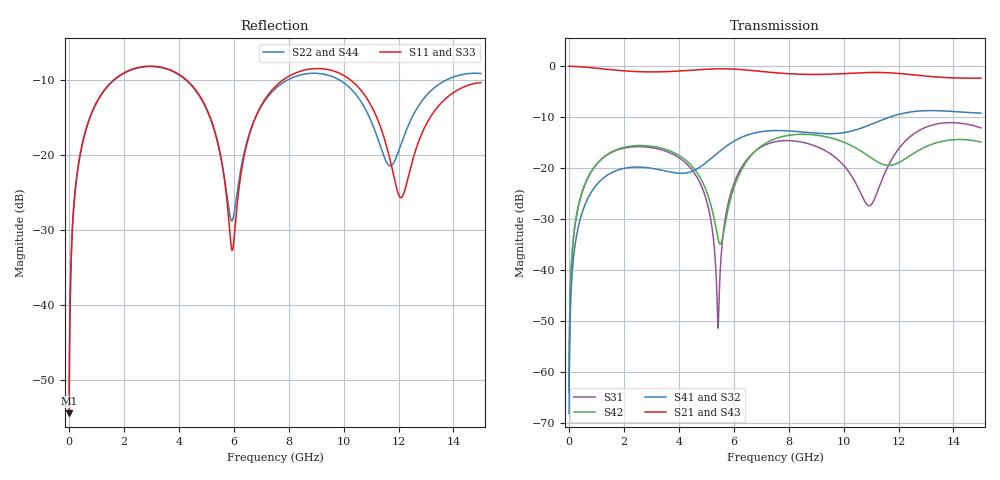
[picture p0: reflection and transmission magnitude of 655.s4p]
! Created with skrf 1.8.0 (http://scikit-rf.org).
# GHz S RI R 50.0
!freq ReS11 ImS11 ReS12 ImS12 ReS13 ImS13
! ReS14 ImS14
! ReS21 ImS21 ReS22 ImS22 ReS23 ImS23
! ReS24 ImS24
! ReS31 ImS31 ReS32 ImS32 ReS33 ImS33
! ReS34 ImS34
! ReS41 ImS41 ReS42 ImS42 ReS43 ImS43
! ReS44 ImS44
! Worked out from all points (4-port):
!   2499 points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, 5 MHz to 15 GHz, reference 50 ohm
!   strongest paths, dB at 5 MHz, 3.476 GHz, 7.19 GHz, 11.1 GHz, 15 GHz:
!     S21: 0.0, -1.1, -1.1, -1.2, -2.4
!     S43: 0.0, -1.1, -1.1, -1.3, -2.4
!     S41: -68.0, -20.5, -12.7, -11.2, -9.2
!     S32: -68.0, -20.5, -12.7, -11.2, -9.2
!     S42: -63.9, -16.2, -15.0, -18.3, -14.9
!     S31: -63.9, -16.6, -15.3, -26.4, -12.1
!   lowest |S11| = -54.5 dB at 5 MHz (marker M1), VSWR 1.00, Z = 50.2 + j0.115 ohm
!   |S11| at or under -10 dB: start of sweep to 1.633 GHz; 4.28 GHz to 7.796 GHz (3.516 GHz wide, 58.2 % of centre); 10.25 GHz to end of sweep
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0.005  0.00151 0.00114  0.9985 -0.00294  7.65e-05 0.00063  -7.42e-05 -0.00039
       0.9985 -0.00294  0.00151 0.00114  -7.42e-05 -0.00039  7.66e-05 0.00063
       7.65e-05 0.00063  -7.42e-05 -0.00039  0.00151 0.00114  0.9985 -0.00294
       -7.42e-05 -0.00039  7.66e-05 0.00063  0.9985 -0.00294  0.00151 0.00114
0.3126303  0.021 0.0757  0.9714 -0.1834  0.00969 0.0378  -0.00821 -0.0232
           0.9714 -0.1834  0.0209 0.0757  -0.00821 -0.0232  0.0101 0.0377
           0.00969 0.0378  -0.00821 -0.0232  0.021 0.0757  0.9714 -0.1834
           -0.00821 -0.0232  0.0101 0.0377  0.9714 -0.1834  0.0209 0.0757
1.569404  0.2483 0.1834  0.5954 -0.7007  0.1224 0.0749  -0.0898 -0.0139
          0.5954 -0.7007  0.2463 0.1846  -0.0898 -0.0138  0.1286 0.0675
          0.1224 0.0749  -0.0898 -0.0138  0.2484 0.1834  0.5953 -0.7007
          -0.0898 -0.0139  0.1286 0.0675  0.5953 -0.7007  0.2464 0.1846
5.427261  0.0512 -0.1078  -0.8798 -0.3329  0.00269 0.000306  -0.0462 0.1344
          -0.8798 -0.3329  0.0625 -0.0997  -0.0455 0.1346  -0.0173 -0.0109
          0.00269 0.000306  -0.0455 0.1346  0.0533 -0.1092  -0.8794 -0.3331
          -0.0462 0.1344  -0.0173 -0.0109  -0.8794 -0.3331  0.0619 -0.1021
6.40892  0.0543 0.0894  -0.902 0.174  0.0495 0.1033  0.055 0.1996
         -0.902 0.174  0.0667 0.0866  0.0558 0.1992  0.051 0.0976
         0.0495 0.1033  0.0558 0.1992  0.0559 0.0866  -0.9023 0.1739
         0.055 0.1996  0.051 0.0976  -0.9023 0.1739  0.0642 0.0849
9.303877  0.3697 -0.0593  0.0289 0.83  0.1464 -0.0322  0.2055 -0.0725
          0.0289 0.83  0.343 -0.0392  0.205 -0.0735  0.1414 -0.1478
          0.1464 -0.0322  0.205 -0.0735  0.3687 -0.0626  0.0307 0.8301
          0.2055 -0.0725  0.1414 -0.1478  0.0307 0.8301  0.3425 -0.0377
15  0.3037 0.0121  0.1687 -0.744  0.2122 -0.1285  -0.346 0.00274
    0.1687 -0.744  0.3475 -0.0353  -0.346 0.0056  0.1684 -0.0642
    0.2122 -0.1285  -0.346 0.0056  0.3041 0.00698  0.1622 -0.745
    -0.346 0.00274  0.1684 -0.0642  0.1622 -0.745  0.3477 -0.0353
